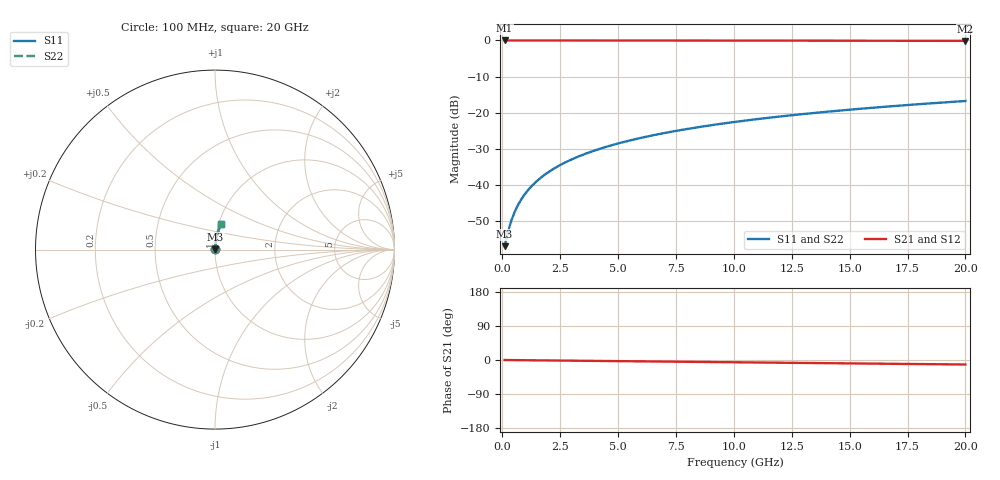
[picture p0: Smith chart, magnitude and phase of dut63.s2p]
! Touchstone file exported from HFSS 2026.1.0
!  File:  C:/ffzhzh/LocalFiles/Ansys_Project_Files/temp_train_TSV_63_1782959076_45568.aedt
!  Generated:  10:26:49 AM Jul  2, 2026
!  Design:  TSV
!  Project:  temp_train_TSV_63_1782959076_45568
! Variables:
!  h_bsmrdl = 2um
!  h_ox = 20um
!  h_rdl = 5um
!  h_sub = 78.56um
!  h_tmrdl = 5um
!  h_tsv = 78.56um
!  h_via = 3um
!  l_bsmrdl = 300um
!  l_sub = 405.5um
!  l_tmrdl = 200um
!  m_sub = 200um
!  pitch = 53.21um
!  r_tsv = 2.75um
!  s_tmrdl = 10um
!  w_bsmrdl = 18um
!  w_sub = 500um
!  w_tmrdl = 12um
!  x_tsv_center1 = 206um
!  x_tsv_center2 = 524um
!  x_tsv_center3 = 736um
!  x_tsv_center4 = 1054um
!  x_tsv_center5 = 1266um
!  x_tsv_center6 = 1584um
# GHz S MA R 50.000000
! Terminal data exported
! Port[1] = TSV1_1_T1
! Port[2] = TSV1_1_T2
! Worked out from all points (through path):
!   200 points, 100 MHz to 20 GHz, reference 50 ohm
!   highest |S21| = -0.01 dB at 100 MHz (marker M1); lowest = -0.1 dB at 20 GHz (marker M2)
!   group delay of S21, straight-line fit = 1.65 ps
!   lowest |S11| = -56.9 dB at 100 MHz (marker M3), VSWR 1.00, Z = 50.1 + j0.0765 ohm
!   |S11| at or under -10 dB: start of sweep to end of sweep
!   |S22| runs from -56.9 to -16.7 dB; largest |S21 - S12| = 8.3e-15
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0.1  0.00143 32.3  0.9988 -0.1  0.9988 -0.1  0.00143 32.3
! Gamma 0 0 0 0
! Port Impedance 50 0 50 0
0.2  0.001951 51.4  0.9988 -0.1  0.9988 -0.1  0.001951 51.4
0.3  0.002593 61.7  0.9988 -0.2  0.9988 -0.2  0.002593 61.7
0.4  0.003284 67.8  0.9988 -0.2  0.9988 -0.2  0.003284 67.8
0.5  0.003998 71.7  0.9988 -0.3  0.9988 -0.3  0.003998 71.7
0.6  0.004723 74.4  0.9987 -0.4  0.9987 -0.4  0.004723 74.4
0.8  0.006194 77.8  0.9987 -0.5  0.9987 -0.5  0.006194 77.8
1.1  0.008424 80.7  0.9987 -0.7  0.9987 -0.7  0.008424 80.7
1.5  0.01142 82.6  0.9986 -0.9  0.9986 -0.9  0.01142 82.6
1.8  0.01367 83.4  0.9986 -1.1  0.9986 -1.1  0.01367 83.4
2.1  0.01592 83.9  0.9985 -1.3  0.9985 -1.3  0.01592 83.9
2.7  0.02042 84.5  0.9984 -1.6  0.9984 -1.6  0.02042 84.5
3.5  0.02642 84.7  0.9982 -2.1  0.9982 -2.1  0.02642 84.7
4.2  0.03166 84.7  0.998 -2.5  0.998 -2.5  0.03166 84.7
5  0.03762 84.5  0.9976 -3.0  0.9976 -3.0  0.03762 84.5
5.9  0.0443 84.1  0.9972 -3.6  0.9972 -3.6  0.0443 84.1
6.8  0.05096 83.7  0.9968 -4.1  0.9968 -4.1  0.05096 83.7
8.3  0.06198 83.0  0.9959 -5.0  0.9959 -5.0  0.06198 83.0
10.1  0.0751 82.1  0.9948 -6.1  0.9948 -6.1  0.0751 82.1
13.4  0.09887 80.3  0.9923 -8.0  0.9923 -8.0  0.09887 80.3
16.7  0.1223 78.5  0.9893 -10.0  0.9893 -10.0  0.1223 78.5
20  0.1454 76.7  0.9859 -11.9  0.9859 -11.9  0.1454 76.7
